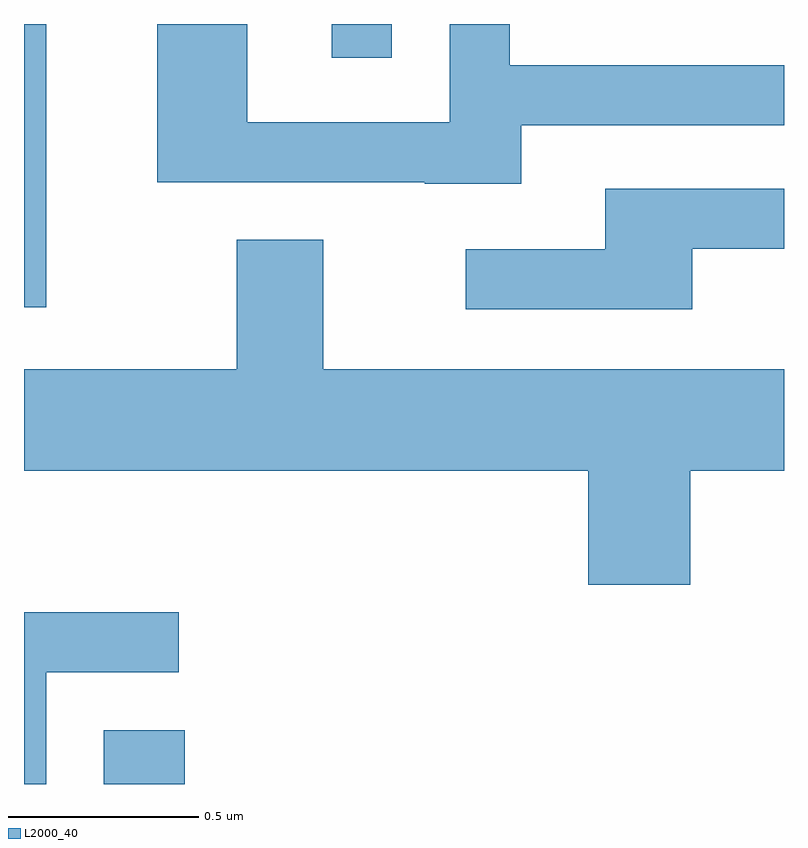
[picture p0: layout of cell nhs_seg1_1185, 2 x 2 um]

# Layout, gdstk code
import gdstk
lib = gdstk.Library(unit=1e-6, precision=1e-09)
def R(c, l, rs):  # rectangles x0, y0, x1, y1
    for r in rs: c.add(gdstk.rectangle(r[:2], r[2:], *l))
def P(c, l, *ps):  # polygons
    for p in ps: c.add(gdstk.Polygon(p, *l))
L2000_40 = (2000, 40)

nhs_seg1_1185 = lib.new_cell('nhs_seg1_1185')
R(nhs_seg1_1185, L2000_40, [(193.821,938.712,194.034,938.854), (193.611,939.966,193.669,940.712), (194.421,940.623,194.579,940.712)])
P(nhs_seg1_1185, L2000_40, [(194.919,940.446),(195.611,940.446),(195.611,940.604),(194.889,940.604),(194.889,940.712),(194.731,940.712),(194.731,940.454),(194.199,940.454),(194.199,940.712),(193.961,940.712),(193.961,940.296),(194.665,940.296),(194.665,940.291),(194.919,940.291)],
  [(195.369,940.121),(195.611,940.121),(195.611,940.279),(195.141,940.279),(195.141,940.119),(194.773,940.119),(194.773,939.961),(195.369,939.961)],
  [(195.364,939.536),(195.611,939.536),(195.611,939.804),(194.399,939.804),(194.399,940.144),(194.171,940.144),(194.171,939.804),(193.611,939.804),(193.611,939.536),(195.096,939.536),(195.096,939.236),(195.364,939.236)],
  [(193.669,939.006),(194.018,939.006),(194.018,939.164),(193.611,939.164),(193.611,938.712),(193.669,938.712)])

lib.write_gds('nhs_seg1_1185.gds')
